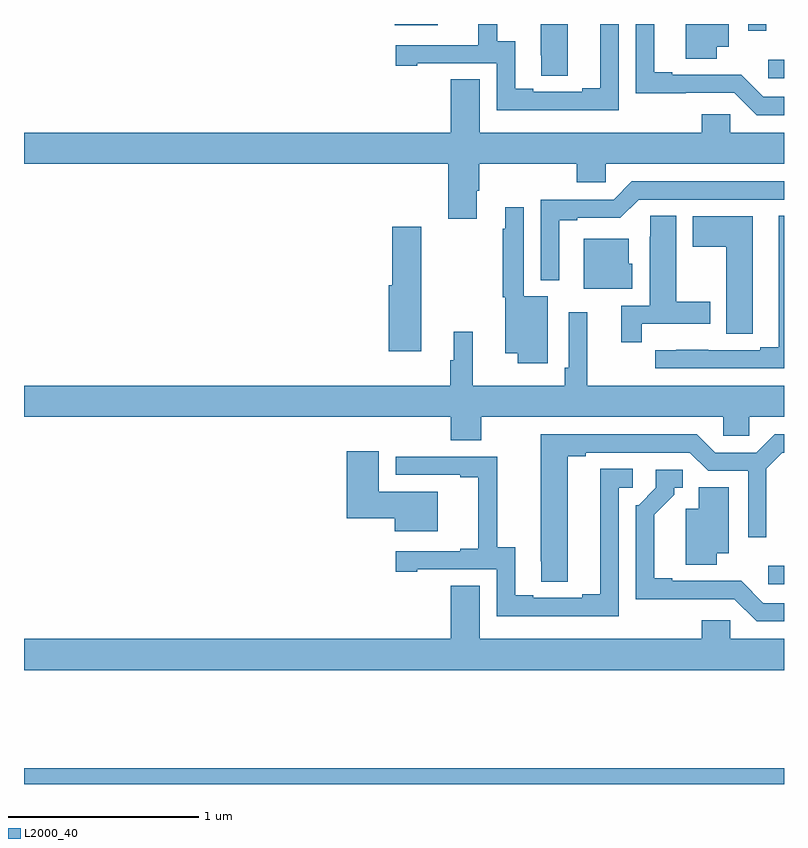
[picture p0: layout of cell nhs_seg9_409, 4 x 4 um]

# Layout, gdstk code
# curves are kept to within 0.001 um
import gdstk
lib = gdstk.Library(unit=1e-6, precision=1e-09)
def R(c, l, rs):  # rectangles x0, y0, x1, y1
    for r in rs: c.add(gdstk.rectangle(r[:2], r[2:], *l))
def P(c, l, *ps):  # polygons
    for p in ps: c.add(gdstk.Polygon(p, *l))
L2000_40 = (2000, 40)

nhs_seg9_409 = lib.new_cell('nhs_seg9_409')
R(nhs_seg9_409, L2000_40, [(131,1182.5,135,1182.584), (134.916,1183.551,135,1183.648), (134.916,1186.215,135,1186.312), (134.811,1186.464,134.907,1186.5), (132.95,1186.493,133.177,1186.5)])
P(nhs_seg9_409, L2000_40, [(135,1186.116),(134.892,1186.116),(134.774,1186.234),(134.413,1186.233),(134.413,1186.246),(134.317,1186.246),(134.317,1186.5),(134.22,1186.5),(134.22,1186.136),(134.739,1186.137),(134.856,1186.02),(135,1186.02)],
  [(133.861,1186.5),(133.721,1186.5),(133.721,1186.336),(133.722,1186.336),(133.722,1186.228),(133.861,1186.228)],
  [(134.13,1186.5),(134.033,1186.5),(134.033,1186.163),(133.937,1186.163),(133.937,1186.143),(133.681,1186.143),(133.681,1186.158),(133.585,1186.158),(133.585,1186.409),(133.491,1186.409),(133.491,1186.5),(133.392,1186.5),(133.392,1186.39),(133.391,1186.39),(133.391,1186.389),(132.957,1186.389),(132.957,1186.281),(133.069,1186.281),(133.069,1186.293),(133.488,1186.293),(133.488,1186.047),(134.13,1186.047)],
  [(134.647,1186.379),(134.71,1186.379),(134.71,1186.5),(134.483,1186.5),(134.483,1186.318),(134.647,1186.318)],
  [(133.384,1185.622),(133.397,1185.622),(133.397,1185.764),(133.91,1185.764),(133.91,1185.666),(134.061,1185.666),(134.061,1185.764),(135,1185.764),(135,1185.928),(134.718,1185.928),(134.718,1186.026),(134.567,1186.026),(134.567,1185.928),(133.399,1185.928),(133.399,1186.208),(133.247,1186.208),(133.247,1185.928),(131,1185.928),(131,1185.764),(133.232,1185.764),(133.232,1185.474),(133.384,1185.474)],
  [(133.816,1185.468),(133.912,1185.468),(133.912,1185.48),(134.139,1185.48),(134.235,1185.576),(135,1185.576),(135,1185.672),(134.199,1185.672),(134.103,1185.576),(133.719,1185.576),(133.719,1185.152),(133.816,1185.152)],
  [(133.756,1185.067),(133.629,1185.067),(133.629,1185.535),(133.532,1185.535),(133.532,1185.422),(133.521,1185.422),(133.521,1185.063),(133.532,1185.063),(133.532,1184.768),(133.598,1184.768),(133.598,1184.715),(133.756,1184.715)],
  [(135,1185.491),(134.972,1185.491),(134.972,1184.799),(134.876,1184.799),(134.876,1184.784),(134.6,1184.784),(134.6,1184.785),(134.434,1184.785),(134.434,1184.784),(134.322,1184.784),(134.322,1184.688),(135,1184.688)],
  [(134.252,1184.922),(134.611,1184.922),(134.611,1185.039),(134.434,1185.039),(134.434,1185.491),(134.295,1185.491),(134.295,1185.38),(134.294,1185.38),(134.294,1185.018),(134.144,1185.018),(134.144,1184.826),(134.252,1184.826)],
  [(134.835,1184.977),(134.836,1184.977),(134.836,1185.487),(134.519,1185.487),(134.519,1185.328),(134.696,1185.328),(134.696,1184.869),(134.835,1184.869)],
  [(133.09,1185.126),(133.092,1185.126),(133.092,1185.433),(132.938,1185.433),(132.938,1185.126),(132.92,1185.126),(132.92,1184.778),(133.09,1184.778)],
  [(134.2,1185.237),(134.182,1185.237),(134.182,1185.37),(133.946,1185.37),(133.946,1185.107),(134.2,1185.107)],
  [(133.407,1184.432),(134.679,1184.432),(134.679,1184.334),(134.817,1184.334),(134.817,1184.432),(135,1184.432),(135,1184.596),(133.964,1184.596),(133.964,1184.983),(133.866,1184.983),(133.866,1184.692),(133.846,1184.692),(133.846,1184.596),(133.362,1184.596),(133.362,1184.881),(133.262,1184.881),(133.262,1184.73),(133.243,1184.73),(133.243,1184.596),(131,1184.596),(131,1184.432),(133.247,1184.432),(133.247,1184.308),(133.407,1184.308)],
  [(133.861,1184.224),(133.957,1184.224),(133.957,1184.244),(134.505,1184.244),(134.601,1184.148),(134.811,1184.148),(134.811,1183.8),(134.907,1183.8),(134.907,1184.16),(134.991,1184.244),(135,1184.244),(135,1184.34),(134.951,1184.34),(134.855,1184.244),(134.637,1184.244),(134.541,1184.34),(133.721,1184.34),(133.722,1183.564),(133.861,1183.564)],
  [(133.177,1184.038),(132.868,1184.038),(132.868,1184.251),(132.698,1184.251),(132.698,1183.898),(132.95,1183.898),(132.95,1183.829),(133.177,1183.829)],
  [(134.13,1184.058),(134.203,1184.058),(134.203,1184.159),(134.033,1184.159),(134.033,1183.499),(133.937,1183.499),(133.937,1183.479),(133.681,1183.479),(133.681,1183.494),(133.585,1183.494),(133.585,1183.745),(133.491,1183.745),(133.491,1184.223),(132.957,1184.223),(132.957,1184.127),(133.295,1184.127),(133.295,1184.115),(133.391,1184.115),(133.391,1183.738),(133.295,1183.738),(133.295,1183.725),(132.957,1183.725),(132.957,1183.617),(133.069,1183.617),(133.069,1183.629),(133.488,1183.629),(133.488,1183.383),(134.13,1183.383)],
  [(135,1183.452),(134.892,1183.452),(134.774,1183.57),(134.413,1183.569),(134.413,1183.582),(134.317,1183.582),(134.317,1183.918),(134.422,1184.023),(134.422,1184.058),(134.467,1184.058),(134.467,1184.154),(134.325,1184.154),(134.325,1184.058),(134.235,1183.968),(134.22,1183.968),(134.22,1183.472),(134.739,1183.473),(134.856,1183.356),(135,1183.356)],
  [(134.647,1183.715),(134.71,1183.715),(134.71,1184.063),(134.552,1184.063),(134.552,1183.948),(134.483,1183.948),(134.483,1183.654),(134.647,1183.654)],
  [(135,1183.264),(134.718,1183.264),(134.718,1183.362),(134.567,1183.362),(134.567,1183.264),(133.399,1183.264),(133.399,1183.544),(133.247,1183.544),(133.247,1183.264),(131,1183.264),(131,1183.1),(135,1183.1)])

lib.write_gds('nhs_seg9_409.gds')
